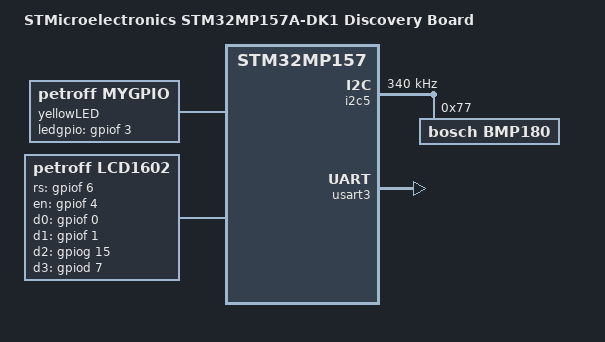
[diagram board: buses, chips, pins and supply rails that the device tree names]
// SPDX-License-Identifier: (GPL-2.0+ OR BSD-3-Clause)
/*
 * Copyright (C) STMicroelectronics 2019 - All Rights Reserved
 * Author: Alexandre Torgue <alexandre.torgue@st.com> for STMicroelectronics.
 */

/dts-v1/;

#include "stm32mp157.dtsi"
#include "stm32mp15xa.dtsi"
#include "stm32mp15-pinctrl.dtsi"
#include "stm32mp15xxac-pinctrl.dtsi"
#include "stm32mp15xx-dkx.dtsi"

/ {
	model = "STMicroelectronics STM32MP157A-DK1 Discovery Board";
	compatible = "st,stm32mp157a-dk1", "st,stm32mp157";

	chosen {
		stdout-path = "serial0:115200n8";
	};

	myled {
		compatible = "petroff,mygpio";
		status = "okay";
		label = "yellowLED";
		ledgpio-gpios = <&gpiof 3 (GPIO_ACTIVE_HIGH | GPIO_PULL_UP)>; 
	};

	lcd1602 {
		compatible = "petroff,lcd1602";
		status = "okay";
		label = "LCD1602";

		/*	BITMODE_4	*/
		rs-gpio = <&gpiof 6  (GPIO_ACTIVE_HIGH | GPIO_PULL_UP)>; /* RS */
		en-gpio = <&gpiof 4  (GPIO_ACTIVE_HIGH | GPIO_PULL_UP)>; /* EN */
	
		d0-gpio = <&gpiof 0  (GPIO_ACTIVE_HIGH | GPIO_PULL_UP)>; /* D4 */
		d1-gpio = <&gpiof 1  (GPIO_ACTIVE_HIGH | GPIO_PULL_UP)>; /* D5 */

		d2-gpio = <&gpiog 15 (GPIO_ACTIVE_HIGH | GPIO_PULL_UP)>; /* D6 */
		d3-gpio = <&gpiod 7  (GPIO_ACTIVE_HIGH | GPIO_PULL_UP)>; /* D7 */
	};
};

&i2c5 {
    pinctrl-names = "default", "sleep";
    pinctrl-0 = <&i2c5_pins_a>;
    pinctrl-1 = <&i2c5_sleep_pins_a>;
    i2c-scl-rising-time-ns = <185>;
    i2c-scl-falling-time-ns = <20>;
    clock-frequency = <340000>;
    status = "okay";
	
	bmp180@77 {
		compatible = "bosch,bmp180";
		reg = <0x77>;
		status = "okay";
	};
};

&usart3 {
	pinctrl-names = "default", "sleep", "idle";
	pinctrl-0 = <&usart3_pins_c>;
	pinctrl-1 = <&usart3_sleep_pins_c>;
	pinctrl-2 = <&usart3_idle_pins_c>;
	status = "okay";
};

